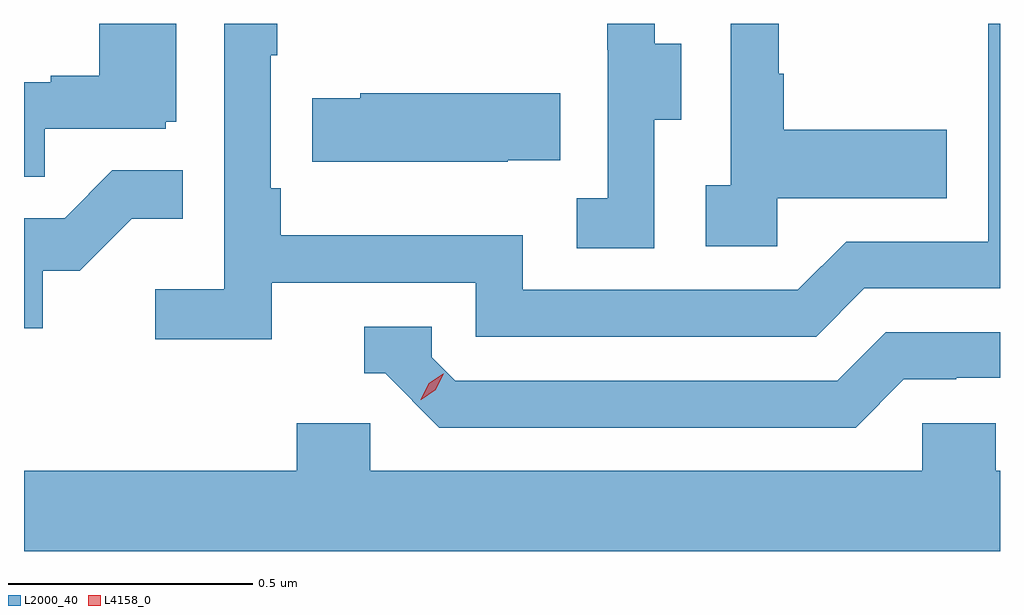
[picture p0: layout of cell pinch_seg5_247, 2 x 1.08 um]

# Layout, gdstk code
import gdstk
lib = gdstk.Library(unit=1e-6, precision=1e-09)
def P(c, l, *ps):  # polygons
    for p in ps: c.add(gdstk.Polygon(p, *l))
L2000_40 = (2000, 40)
L4158_0 = (4158, 0)

pinch_seg5_247 = lib.new_cell('pinch_seg5_247')
P(pinch_seg5_247, L2000_40, [(940.679,901.581),(940.926,901.581),(940.926,901.596),(940.948,901.596),(940.948,901.796),(940.79,901.796),(940.79,901.69),(940.691,901.69),(940.691,901.677),(940.636,901.677),(940.636,901.483),(940.679,901.483)],
  [(942.18,901.439),(942.527,901.439),(942.527,901.579),(942.193,901.579),(942.193,901.694),(942.183,901.694),(942.183,901.796),(942.084,901.796),(942.084,901.466),(942.033,901.466),(942.033,901.341),(942.18,901.341)],
  [(941.928,901.6),(941.983,901.6),(941.983,901.755),(941.929,901.755),(941.929,901.796),(941.831,901.796),(941.831,901.743),(941.832,901.743),(941.832,901.439),(941.769,901.439),(941.769,901.336),(941.928,901.336)],
  [(941.144,901.266),(941.562,901.266),(941.562,901.155),(942.259,901.155),(942.358,901.254),(942.636,901.254),(942.636,901.796),(942.612,901.796),(942.612,901.35),(942.321,901.35),(942.222,901.251),(941.658,901.251),(941.658,901.363),(941.162,901.363),(941.162,901.459),(941.142,901.459),(941.142,901.732),(941.155,901.732),(941.155,901.796),(941.046,901.796),(941.046,901.252),(940.905,901.252),(940.905,901.15),(941.144,901.15)],
  [(941.627,901.517),(941.735,901.517),(941.735,901.654),(941.325,901.654),(941.325,901.644),(941.227,901.644),(941.227,901.514),(941.627,901.514)],
  [(940.674,901.29),(940.75,901.29),(940.857,901.397),(940.961,901.397),(940.961,901.496),(940.817,901.496),(940.719,901.398),(940.636,901.398),(940.636,901.173),(940.674,901.173)],
  [(942.439,901.068),(942.546,901.068),(942.546,901.071),(942.636,901.071),(942.636,901.164),(942.402,901.164),(942.303,901.065),(941.52,901.065),(941.472,901.113),(941.472,901.176),(941.333,901.176),(941.333,901.08),(941.376,901.08),(941.487,900.969),(942.34,900.969)],
  [(942.636,900.88),(942.627,900.88),(942.627,900.978),(942.477,900.978),(942.477,900.88),(941.346,900.88),(941.346,900.978),(941.195,900.978),(941.195,900.88),(940.636,900.88),(940.636,900.716),(942.636,900.716)])
P(pinch_seg5_247, L4158_0, [(941.449,901.026),(941.449,901.027),(941.465,901.06),(941.495,901.079),(941.496,901.079),(941.496,901.079),(941.48,901.046),(941.45,901.026)])

lib.write_gds('pinch_seg5_247.gds')
